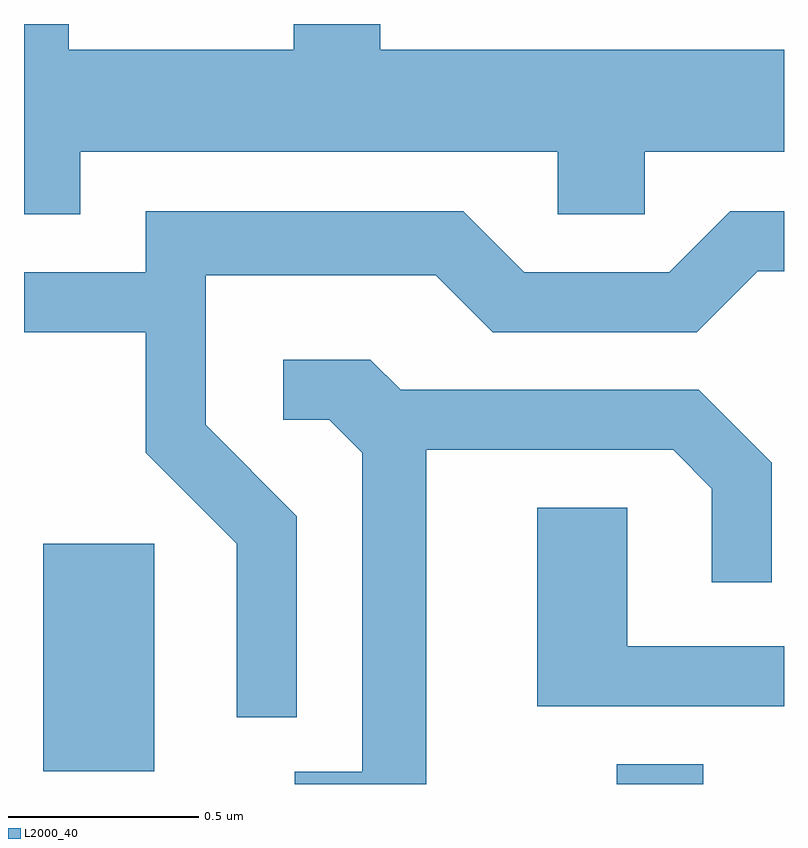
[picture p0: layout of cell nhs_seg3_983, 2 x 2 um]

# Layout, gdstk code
import gdstk
lib = gdstk.Library(unit=1e-6, precision=1e-09)
def R(c, l, rs):  # rectangles x0, y0, x1, y1
    for r in rs: c.add(gdstk.rectangle(r[:2], r[2:], *l))
def P(c, l, *ps):  # polygons
    for p in ps: c.add(gdstk.Polygon(p, *l))
L2000_40 = (2000, 40)

nhs_seg3_983 = lib.new_cell('nhs_seg3_983')
R(nhs_seg3_983, L2000_40, [(194.171,1139.892,194.399,1139.944), (192.661,1139.926,192.954,1140.524)])
P(nhs_seg3_983, L2000_40, [(192.759,1141.556),(194.016,1141.556),(194.016,1141.391),(194.244,1141.391),(194.244,1141.556),(194.611,1141.556),(194.611,1141.824),(193.549,1141.824),(193.549,1141.892),(193.321,1141.892),(193.321,1141.824),(192.729,1141.824),(192.729,1141.892),(192.611,1141.892),(192.611,1141.391),(192.759,1141.391)],
  [(193.329,1140.597),(193.089,1140.837),(193.089,1141.231),(193.694,1141.231),(193.844,1141.081),(194.382,1141.081),(194.542,1141.241),(194.611,1141.241),(194.611,1141.399),(194.469,1141.399),(194.309,1141.239),(193.927,1141.239),(193.767,1141.399),(192.931,1141.399),(192.931,1141.239),(192.611,1141.239),(192.611,1141.081),(192.931,1141.081),(192.931,1140.764),(193.171,1140.524),(193.171,1140.068),(193.329,1140.068)],
  [(193.669,1140.771),(194.319,1140.771),(194.421,1140.669),(194.421,1140.423),(194.579,1140.423),(194.579,1140.737),(194.387,1140.929),(193.602,1140.929),(193.522,1141.009),(193.293,1141.009),(193.293,1140.851),(193.414,1140.851),(193.501,1140.764),(193.501,1139.924),(193.323,1139.924),(193.323,1139.892),(193.669,1139.892)],
  [(194.611,1140.254),(194.199,1140.254),(194.199,1140.619),(193.961,1140.619),(193.961,1140.096),(194.611,1140.096)])

lib.write_gds('nhs_seg3_983.gds')
